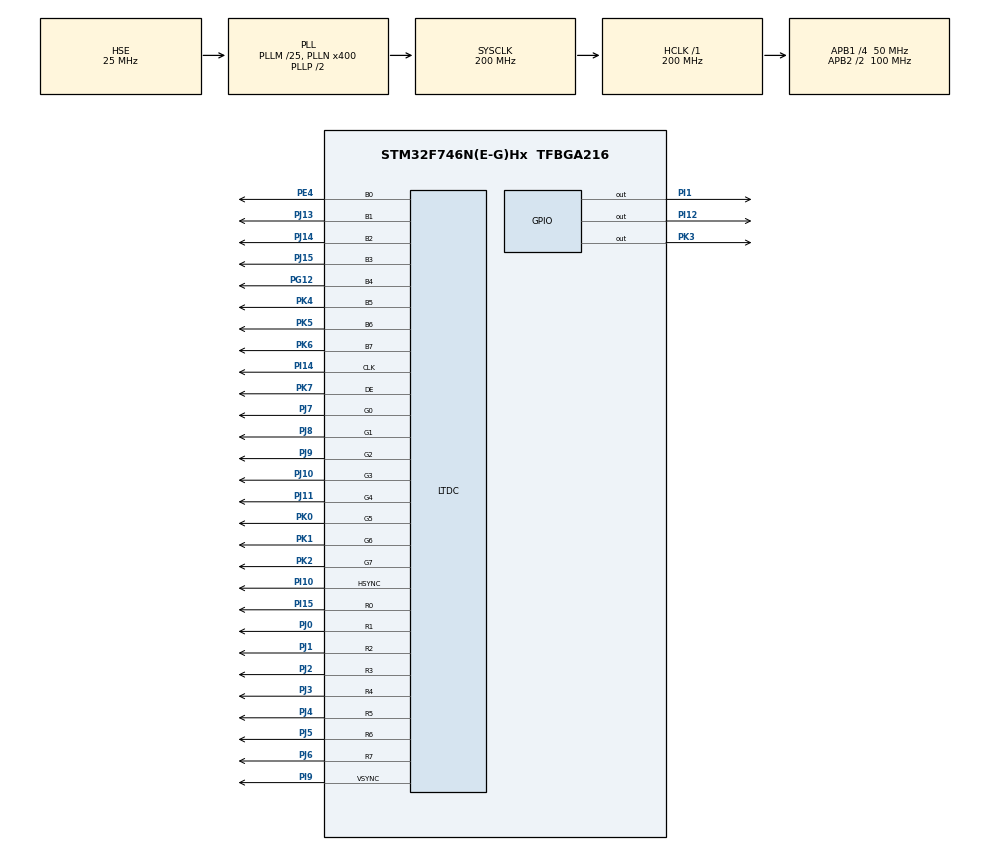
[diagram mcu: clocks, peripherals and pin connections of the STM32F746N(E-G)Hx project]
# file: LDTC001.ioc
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CORTEX_M7.AccessPermission-Cortex_Memory_Protection_Unit_Region0_Settings=MPU_REGION_FULL_ACCESS
CORTEX_M7.BaseAddress-Cortex_Memory_Protection_Unit_Region0_Settings=0x20010000
CORTEX_M7.CPU_DCache=Enabled
CORTEX_M7.CPU_ICache=Enabled
CORTEX_M7.Enable-Cortex_Memory_Protection_Unit_Region0_Settings=MPU_REGION_ENABLE
CORTEX_M7.IsCacheable-Cortex_Memory_Protection_Unit_Region0_Settings=MPU_ACCESS_CACHEABLE
CORTEX_M7.MPU_Control=MPU_PRIVILEGED_DEFAULT
CORTEX_M7.Size-Cortex_Memory_Protection_Unit_Region0_Settings=MPU_REGION_SIZE_256KB
CORTEX_M7.SubRegionDisable-Cortex_Memory_Protection_Unit_Region0_Settings=0x0
LTDC.ActiveH=272
LTDC.ActiveW=480
LTDC.Alpha_L0=255
LTDC.HBP=13
LTDC.HFP=32
LTDC.HSync=41
LTDC.ImageHeight_L0=272
LTDC.ImageWidth_L0=480
LTDC.Layers=0
LTDC.PixelFormat_L0=LTDC_PIXEL_FORMAT_RGB565
LTDC.VSync=10
LTDC.WindowX1_L0=480
LTDC.WindowY1_L0=272
Mcu.Family=STM32F7
Mcu.Name=STM32F746N(E-G)Hx
Mcu.Package=TFBGA216
NVIC.PriorityGroup=NVIC_PRIORITYGROUP_4
PA13.Mode=Serial_Wire
PA13.Signal=SYS_JTMS-SWDIO
PA14.Mode=Serial_Wire
PA14.Signal=SYS_JTCK-SWCLK
PE4.GPIO_Speed=GPIO_SPEED_FREQ_HIGH
PE4.Mode=RGB888
PE4.Signal=LTDC_B0
PG12.GPIO_Speed=GPIO_SPEED_FREQ_HIGH
PG12.Mode=RGB888
PG12.Signal=LTDC_B4
PH0/OSC_IN.Mode=HSE-External-Oscillator
PH0/OSC_IN.Signal=RCC_OSC_IN
PH1/OSC_OUT.Mode=HSE-External-Oscillator
PH1/OSC_OUT.Signal=RCC_OSC_OUT
PI1.Signal=GPIO_Output
PI10.GPIO_Speed=GPIO_SPEED_FREQ_HIGH
PI10.Mode=RGB888
PI10.Signal=LTDC_HSYNC
PI12.GPIO_Speed=GPIO_SPEED_FREQ_HIGH
PI12.PinState=GPIO_PIN_SET
PI12.Signal=GPIO_Output
PI14.GPIO_Speed=GPIO_SPEED_FREQ_HIGH
PI14.Mode=RGB888
PI14.Signal=LTDC_CLK
PI15.GPIO_Speed=GPIO_SPEED_FREQ_HIGH
PI15.Mode=RGB888
PI15.Signal=LTDC_R0
PI9.GPIO_Speed=GPIO_SPEED_FREQ_HIGH
PI9.Mode=RGB888
PI9.Signal=LTDC_VSYNC
PJ0.GPIO_Speed=GPIO_SPEED_FREQ_HIGH
PJ0.Mode=RGB888
PJ0.Signal=LTDC_R1
PJ1.GPIO_Speed=GPIO_SPEED_FREQ_HIGH
PJ1.Mode=RGB888
PJ1.Signal=LTDC_R2
PJ10.GPIO_Speed=GPIO_SPEED_FREQ_HIGH
PJ10.Mode=RGB888
PJ10.Signal=LTDC_G3
PJ11.GPIO_Speed=GPIO_SPEED_FREQ_HIGH
PJ11.Mode=RGB888
PJ11.Signal=LTDC_G4
PJ13.GPIO_Speed=GPIO_SPEED_FREQ_HIGH
PJ13.Mode=RGB888
PJ13.Signal=LTDC_B1
PJ14.GPIO_Speed=GPIO_SPEED_FREQ_HIGH
PJ14.Mode=RGB888
PJ14.Signal=LTDC_B2
PJ15.GPIO_Speed=GPIO_SPEED_FREQ_HIGH
PJ15.Mode=RGB888
PJ15.Signal=LTDC_B3
PJ2.GPIO_Speed=GPIO_SPEED_FREQ_HIGH
PJ2.Mode=RGB888
PJ2.Signal=LTDC_R3
PJ3.GPIO_Speed=GPIO_SPEED_FREQ_HIGH
PJ3.Mode=RGB888
PJ3.Signal=LTDC_R4
PJ4.GPIO_Speed=GPIO_SPEED_FREQ_HIGH
PJ4.Mode=RGB888
PJ4.Signal=LTDC_R5
PJ5.GPIO_Speed=GPIO_SPEED_FREQ_HIGH
PJ5.Mode=RGB888
PJ5.Signal=LTDC_R6
PJ6.GPIO_Speed=GPIO_SPEED_FREQ_HIGH
PJ6.Mode=RGB888
PJ6.Signal=LTDC_R7
PJ7.GPIO_Speed=GPIO_SPEED_FREQ_HIGH
PJ7.Mode=RGB888
PJ7.Signal=LTDC_G0
PJ8.GPIO_Speed=GPIO_SPEED_FREQ_HIGH
PJ8.Mode=RGB888
PJ8.Signal=LTDC_G1
PJ9.GPIO_Speed=GPIO_SPEED_FREQ_HIGH
PJ9.Mode=RGB888
PJ9.Signal=LTDC_G2
PK0.GPIO_Speed=GPIO_SPEED_FREQ_HIGH
PK0.Mode=RGB888
PK0.Signal=LTDC_G5
PK1.GPIO_Speed=GPIO_SPEED_FREQ_HIGH
PK1.Mode=RGB888
PK1.Signal=LTDC_G6
PK2.GPIO_Speed=GPIO_SPEED_FREQ_HIGH
PK2.Mode=RGB888
PK2.Signal=LTDC_G7
PK3.GPIO_Speed=GPIO_SPEED_FREQ_HIGH
PK3.PinState=GPIO_PIN_SET
PK3.Signal=GPIO_Output
PK4.GPIO_Speed=GPIO_SPEED_FREQ_HIGH
PK4.Mode=RGB888
PK4.Signal=LTDC_B5
PK5.GPIO_Speed=GPIO_SPEED_FREQ_HIGH
PK5.Mode=RGB888
PK5.Signal=LTDC_B6
PK6.GPIO_Speed=GPIO_SPEED_FREQ_HIGH
PK6.Mode=RGB888
PK6.Signal=LTDC_B7
PK7.GPIO_Speed=GPIO_SPEED_FREQ_HIGH
PK7.Mode=RGB888
PK7.Signal=LTDC_DE
ProjectManager.HeapSize=0x2000
ProjectManager.StackSize=0x4000
ProjectManager.TargetToolchain=MDK-ARM V5
RCC.AHBFreq_Value=200000000
RCC.APB1CLKDivider=RCC_HCLK_DIV4
RCC.APB1Freq_Value=50000000
RCC.APB1TimFreq_Value=100000000
RCC.APB2CLKDivider=RCC_HCLK_DIV2
RCC.APB2Freq_Value=100000000
RCC.APB2TimFreq_Value=200000000
RCC.CortexFreq_Value=200000000
RCC.HCLKFreq_Value=200000000
RCC.HSE_VALUE=25000000
RCC.HSI_VALUE=16000000
RCC.LSE_VALUE=32768
RCC.PLL48CLockSelection=RCC_CLK48SOURCE_PLLSAIP
RCC.PLLM=25
RCC.PLLN=400
RCC.PLLQ=8
RCC.PLLSAIP=RCC_PLLSAIP_DIV4
RCC.PLLSourceVirtual=RCC_PLLSOURCE_HSE
RCC.SYSCLKFreq_VALUE=200000000
RCC.SYSCLKSource=RCC_SYSCLKSOURCE_PLLCLK
RCC.USBFreq_Value=48000000
RCC.VCOOutputFreq_Value=400000000
VP_RNG_VS_RNG.Mode=RNG_Activate
board=LDTC001

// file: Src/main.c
/**
  ******************************************************************************
  * File Name          : main.c
  * Description        : Main program body
  ******************************************************************************
  *
  * COPYRIGHT(c) 2017 STMicroelectronics
  *
  * Redistribution and use in source and binary forms, with or without modification,
  * are permitted provided that the following conditions are met:
  *   1. Redistributions of source code must retain the above copyright notice,
  *      this list of conditions and the following disclaimer.
  *   2. Redistributions in binary form must reproduce the above copyright notice,
  *      this list of conditions and the following disclaimer in the documentation
  *      and/or other materials provided with the distribution.
  *   3. Neither the name of STMicroelectronics nor the names of its contributors
  *      may be used to endorse or promote products derived from this software
  *      without specific prior written permission.
  *
  * THIS SOFTWARE IS PROVIDED BY THE COPYRIGHT HOLDERS AND CONTRIBUTORS "AS IS"
  * AND ANY EXPRESS OR IMPLIED WARRANTIES, INCLUDING, BUT NOT LIMITED TO, THE
  * IMPLIED WARRANTIES OF MERCHANTABILITY AND FITNESS FOR A PARTICULAR PURPOSE ARE
  * DISCLAIMED. IN NO EVENT SHALL THE COPYRIGHT HOLDER OR CONTRIBUTORS BE LIABLE
  * FOR ANY DIRECT, INDIRECT, INCIDENTAL, SPECIAL, EXEMPLARY, OR CONSEQUENTIAL
  * DAMAGES (INCLUDING, BUT NOT LIMITED TO, PROCUREMENT OF SUBSTITUTE GOODS OR
  * SERVICES; LOSS OF USE, DATA, OR PROFITS; OR BUSINESS INTERRUPTION) HOWEVER
  * CAUSED AND ON ANY THEORY OF LIABILITY, WHETHER IN CONTRACT, STRICT LIABILITY,
  * OR TORT (INCLUDING NEGLIGENCE OR OTHERWISE) ARISING IN ANY WAY OUT OF THE USE
  * OF THIS SOFTWARE, EVEN IF ADVISED OF THE POSSIBILITY OF SUCH DAMAGE.
  *
  ******************************************************************************
  */
#include "main.h"
#include "stm32f7xx_hal.h"

/* USER CODE BEGIN Includes */
#include "ltdc.h"
/* USER CODE END Includes */

LTDC_HandleTypeDef hltdc;

RNG_HandleTypeDef hrng;

/* USER CODE BEGIN PV */
/* Private variables ---------------------------------------------------------*/
volatile uint32_t RGB565_480x272[65280]={0x00000000};
/* USER CODE END PV */

void SystemClock_Config(void);
void Error_Handler(void);
static void MPU_Config(void);
static void MX_GPIO_Init(void);
static void MX_LTDC_Init(void);
static void MX_RNG_Init(void);

/* USER CODE BEGIN PFP */
/* Private function prototypes -----------------------------------------------*/

/* USER CODE END PFP */

int main(void)
{

  /* USER CODE BEGIN 1 */
	uint16_t i,j;
  /* USER CODE END 1 */

  /* MPU Configuration----------------------------------------------------------*/
  MPU_Config();

  /* Enable I-Cache-------------------------------------------------------------*/
  SCB_EnableICache();

  /* Enable D-Cache-------------------------------------------------------------*/
  SCB_EnableDCache();

  /* MCU Configuration----------------------------------------------------------*/

  /* Reset of all peripherals, Initializes the Flash interface and the Systick. */
  HAL_Init();

  /* Configure the system clock */
  SystemClock_Config();

  /* Initialize all configured peripherals */
  MX_GPIO_Init();
  MX_LTDC_Init();
  MX_RNG_Init();

  /* USER CODE BEGIN 2 */
	HAL_LTDC_SetAddress(&hltdc,(uint32_t)&RGB565_480x272,0);
	TFT_FillScreen((uint32_t)0x0000);
  /* USER CODE END 2 */

  /* Infinite loop */
  while (1)
  {

  /* USER CODE BEGIN 3 */
		for(i=0;i<100;i++)
		{
			TFT_FillScreen((uint16_t)HAL_RNG_GetRandomNumber(&hrng));
			HAL_Delay(100);
		}
		TFT_FillScreen(0);
		HAL_Delay(1000);
		for(i=0;i<1000;i++)
		{
			TFT_FillRectangle(HAL_RNG_GetRandomNumber(&hrng)%480,
												HAL_RNG_GetRandomNumber(&hrng)%272,
												HAL_RNG_GetRandomNumber(&hrng)%480,
												HAL_RNG_GetRandomNumber(&hrng)%272,
												(uint16_t)HAL_RNG_GetRandomNumber(&hrng));
			HAL_Delay(10);
		}
		TFT_FillScreen(0);
		HAL_Delay(1000);
		for(i=0;i<10000;i++)
		{
			for(j=0;j<100;j++)
			{
				TFT_DrawPixel(HAL_RNG_GetRandomNumber(&hrng)%480,
												HAL_RNG_GetRandomNumber(&hrng)%272,0);
			}
			TFT_DrawPixel(HAL_RNG_GetRandomNumber(&hrng)%480,
												HAL_RNG_GetRandomNumber(&hrng)%272,
												(uint16_t)HAL_RNG_GetRandomNumber(&hrng));
			HAL_Delay(1);
		}
		TFT_FillScreen(0);
		HAL_Delay(1000);
		for(i=0;i<1000;i++)
		{
			TFT_DrawLine(HAL_RNG_GetRandomNumber(&hrng)%480,
												HAL_RNG_GetRandomNumber(&hrng)%272,
												HAL_RNG_GetRandomNumber(&hrng)%480,
												HAL_RNG_GetRandomNumber(&hrng)%272,
												(uint16_t)HAL_RNG_GetRandomNumber(&hrng));
			HAL_Delay(10);
		}
		TFT_FillScreen(0);
		HAL_Delay(1000);
	}
  /* USER CODE END 3 */
}

/** System Clock Configuration
*/
void SystemClock_Config(void)
{

  RCC_OscInitTypeDef RCC_OscInitStruct;
  RCC_ClkInitTypeDef RCC_ClkInitStruct;
  RCC_PeriphCLKInitTypeDef PeriphClkInitStruct;

    /**Configure the main internal regulator output voltage
    */
  __HAL_RCC_PWR_CLK_ENABLE();

  __HAL_PWR_VOLTAGESCALING_CONFIG(PWR_REGULATOR_VOLTAGE_SCALE1);

    /**Initializes the CPU, AHB and APB busses clocks
    */
  RCC_OscInitStruct.OscillatorType = RCC_OSCILLATORTYPE_HSE;
  RCC_OscInitStruct.HSEState = RCC_HSE_ON;
  RCC_OscInitStruct.PLL.PLLState = RCC_PLL_ON;
  RCC_OscInitStruct.PLL.PLLSource = RCC_PLLSOURCE_HSE;
  RCC_OscInitStruct.PLL.PLLM = 25;
  RCC_OscInitStruct.PLL.PLLN = 400;
  RCC_OscInitStruct.PLL.PLLP = RCC_PLLP_DIV2;
  RCC_OscInitStruct.PLL.PLLQ = 8;
  if (HAL_RCC_OscConfig(&RCC_OscInitStruct) != HAL_OK)
  {
    Error_Handler();
  }

    /**Activate the Over-Drive mode
    */
  if (HAL_PWREx_EnableOverDrive() != HAL_OK)
  {
    Error_Handler();
  }

    /**Initializes the CPU, AHB and APB busses clocks
    */
  RCC_ClkInitStruct.ClockType = RCC_CLOCKTYPE_HCLK|RCC_CLOCKTYPE_SYSCLK
                              |RCC_CLOCKTYPE_PCLK1|RCC_CLOCKTYPE_PCLK2;
  RCC_ClkInitStruct.SYSCLKSource = RCC_SYSCLKSOURCE_PLLCLK;
  RCC_ClkInitStruct.AHBCLKDivider = RCC_SYSCLK_DIV1;
  RCC_ClkInitStruct.APB1CLKDivider = RCC_HCLK_DIV4;
  RCC_ClkInitStruct.APB2CLKDivider = RCC_HCLK_DIV2;

  if (HAL_RCC_ClockConfig(&RCC_ClkInitStruct, FLASH_LATENCY_6) != HAL_OK)
  {
    Error_Handler();
  }

  PeriphClkInitStruct.PeriphClockSelection = RCC_PERIPHCLK_LTDC|RCC_PERIPHCLK_CLK48;
  PeriphClkInitStruct.PLLSAI.PLLSAIN = 192;
  PeriphClkInitStruct.PLLSAI.PLLSAIR = 2;
  PeriphClkInitStruct.PLLSAI.PLLSAIQ = 2;
  PeriphClkInitStruct.PLLSAI.PLLSAIP = RCC_PLLSAIP_DIV4;
  PeriphClkInitStruct.PLLSAIDivQ = 1;
  PeriphClkInitStruct.PLLSAIDivR = RCC_PLLSAIDIVR_2;
  PeriphClkInitStruct.Clk48ClockSelection = RCC_CLK48SOURCE_PLLSAIP;
  if (HAL_RCCEx_PeriphCLKConfig(&PeriphClkInitStruct) != HAL_OK)
  {
    Error_Handler();
  }

    /**Configure the Systick interrupt time
    */
  HAL_SYSTICK_Config(HAL_RCC_GetHCLKFreq()/1000);

    /**Configure the Systick
    */
  HAL_SYSTICK_CLKSourceConfig(SYSTICK_CLKSOURCE_HCLK);

  /* SysTick_IRQn interrupt configuration */
  HAL_NVIC_SetPriority(SysTick_IRQn, 0, 0);
}

/* LTDC init function */
static void MX_LTDC_Init(void)
{

  LTDC_LayerCfgTypeDef pLayerCfg;

  hltdc.Instance = LTDC;
  hltdc.Init.HSPolarity = LTDC_HSPOLARITY_AL;
  hltdc.Init.VSPolarity = LTDC_VSPOLARITY_AL;
  hltdc.Init.DEPolarity = LTDC_DEPOLARITY_AL;
  hltdc.Init.PCPolarity = LTDC_PCPOLARITY_IPC;
  hltdc.Init.HorizontalSync = 40;
  hltdc.Init.VerticalSync = 9;
  hltdc.Init.AccumulatedHBP = 53;
  hltdc.Init.AccumulatedVBP = 11;
  hltdc.Init.AccumulatedActiveW = 533;
  hltdc.Init.AccumulatedActiveH = 283;
  hltdc.Init.TotalWidth = 565;
  hltdc.Init.TotalHeigh = 285;
  hltdc.Init.Backcolor.Blue = 0;
  hltdc.Init.Backcolor.Green = 0;
  hltdc.Init.Backcolor.Red = 0;
  if (HAL_LTDC_Init(&hltdc) != HAL_OK)
  {
    Error_Handler();
  }

  pLayerCfg.WindowX0 = 0;
  pLayerCfg.WindowX1 = 480;
  pLayerCfg.WindowY0 = 0;
  pLayerCfg.WindowY1 = 272;
  pLayerCfg.PixelFormat = LTDC_PIXEL_FORMAT_RGB565;
  pLayerCfg.Alpha = 255;
  pLayerCfg.Alpha0 = 0;
  pLayerCfg.BlendingFactor1 = LTDC_BLENDING_FACTOR1_CA;
  pLayerCfg.BlendingFactor2 = LTDC_BLENDING_FACTOR2_CA;
  pLayerCfg.FBStartAdress = 0;
  pLayerCfg.ImageWidth = 480;
  pLayerCfg.ImageHeight = 272;
  pLayerCfg.Backcolor.Blue = 0;
  pLayerCfg.Backcolor.Green = 0;
  pLayerCfg.Backcolor.Red = 0;
  if (HAL_LTDC_ConfigLayer(&hltdc, &pLayerCfg, 0) != HAL_OK)
  {
    Error_Handler();
  }

}

/* RNG init function */
static void MX_RNG_Init(void)
{

  hrng.Instance = RNG;
  if (HAL_RNG_Init(&hrng) != HAL_OK)
  {
    Error_Handler();
  }

}

/** Configure pins as
        * Analog
        * Input
        * Output
        * EVENT_OUT
        * EXTI
*/
static void MX_GPIO_Init(void)
{

  GPIO_InitTypeDef GPIO_InitStruct;

  /* GPIO Ports Clock Enable */
  __HAL_RCC_GPIOE_CLK_ENABLE();
  __HAL_RCC_GPIOA_CLK_ENABLE();
  __HAL_RCC_GPIOJ_CLK_ENABLE();
  __HAL_RCC_GPIOK_CLK_ENABLE();
  __HAL_RCC_GPIOG_CLK_ENABLE();
  __HAL_RCC_GPIOI_CLK_ENABLE();
  __HAL_RCC_GPIOH_CLK_ENABLE();

  /*Configure GPIO pin Output Level */
  HAL_GPIO_WritePin(GPIOK, GPIO_PIN_3, GPIO_PIN_SET);

  /*Configure GPIO pin Output Level */
  HAL_GPIO_WritePin(GPIOI, GPIO_PIN_1, GPIO_PIN_RESET);

  /*Configure GPIO pin Output Level */
  HAL_GPIO_WritePin(GPIOI, GPIO_PIN_12, GPIO_PIN_SET);

  /*Configure GPIO pin : PK3 */
  GPIO_InitStruct.Pin = GPIO_PIN_3;
  GPIO_InitStruct.Mode = GPIO_MODE_OUTPUT_PP;
  GPIO_InitStruct.Pull = GPIO_NOPULL;
  GPIO_InitStruct.Speed = GPIO_SPEED_FREQ_HIGH;
  HAL_GPIO_Init(GPIOK, &GPIO_InitStruct);

  /*Configure GPIO pin : PI1 */
  GPIO_InitStruct.Pin = GPIO_PIN_1;
  GPIO_InitStruct.Mode = GPIO_MODE_OUTPUT_PP;
  GPIO_InitStruct.Pull = GPIO_NOPULL;
  GPIO_InitStruct.Speed = GPIO_SPEED_FREQ_LOW;
  HAL_GPIO_Init(GPIOI, &GPIO_InitStruct);

  /*Configure GPIO pin : PI12 */
  GPIO_InitStruct.Pin = GPIO_PIN_12;
  GPIO_InitStruct.Mode = GPIO_MODE_OUTPUT_PP;
  GPIO_InitStruct.Pull = GPIO_NOPULL;
  GPIO_InitStruct.Speed = GPIO_SPEED_FREQ_HIGH;
  HAL_GPIO_Init(GPIOI, &GPIO_InitStruct);

}

/* MPU Configuration */

void MPU_Config(void)
{
  MPU_Region_InitTypeDef MPU_InitStruct;

  /* Disables the MPU */
  HAL_MPU_Disable();
    /**Initializes and configures the Region and the memory to be protected
    */
  MPU_InitStruct.Enable = MPU_REGION_ENABLE;
  MPU_InitStruct.Number = MPU_REGION_NUMBER0;
  MPU_InitStruct.BaseAddress = 0x20010000;
  MPU_InitStruct.Size = MPU_REGION_SIZE_256KB;
  MPU_InitStruct.SubRegionDisable = 0x0;
  MPU_InitStruct.TypeExtField = MPU_TEX_LEVEL0;
  MPU_InitStruct.AccessPermission = MPU_REGION_FULL_ACCESS;
  MPU_InitStruct.DisableExec = MPU_INSTRUCTION_ACCESS_ENABLE;
  MPU_InitStruct.IsShareable = MPU_ACCESS_NOT_SHAREABLE;
  MPU_InitStruct.IsCacheable = MPU_ACCESS_CACHEABLE;
  MPU_InitStruct.IsBufferable = MPU_ACCESS_NOT_BUFFERABLE;

  HAL_MPU_ConfigRegion(&MPU_InitStruct);

  /* Enables the MPU */
  HAL_MPU_Enable(MPU_PRIVILEGED_DEFAULT);

}

void Error_Handler(void)
{
  while(1)
  {
  }
}

/************************ (C) COPYRIGHT STMicroelectronics *****END OF FILE****/
